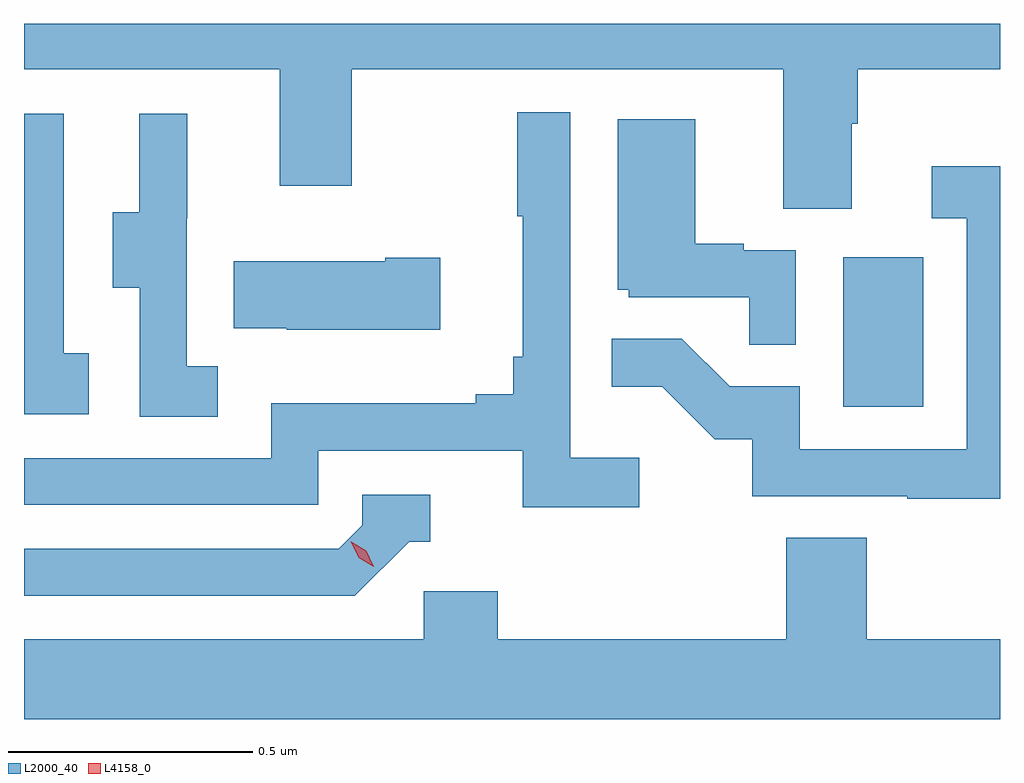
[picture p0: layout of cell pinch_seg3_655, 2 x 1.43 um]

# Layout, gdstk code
import gdstk
lib = gdstk.Library(unit=1e-6, precision=1e-09)
def R(c, l, rs):  # rectangles x0, y0, x1, y1
    for r in rs: c.add(gdstk.rectangle(r[:2], r[2:], *l))
def P(c, l, *ps):  # polygons
    for p in ps: c.add(gdstk.Polygon(p, *l))
L2000_40 = (2000, 40)
L4158_0 = (4158, 0)

pinch_seg3_655 = lib.new_cell('pinch_seg3_655')
R(pinch_seg3_655, L2000_40, [(1037.6,674.916,1037.764,675.223)])
P(pinch_seg3_655, L2000_40, [(1037.617,675.496),(1037.63,675.496),(1037.63,675.608),(1037.921,675.608),(1037.921,675.701),(1035.921,675.701),(1035.921,675.608),(1036.445,675.608),(1036.445,675.369),(1036.593,675.369),(1036.593,675.608),(1037.477,675.608),(1037.477,675.322),(1037.617,675.322)],
  [(1037.182,674.812),(1037.04,674.812),(1037.04,675.52),(1036.932,675.52),(1036.932,675.307),(1036.943,675.307),(1036.943,675.019),(1036.924,675.019),(1036.924,674.942),(1036.847,674.942),(1036.847,674.923),(1036.428,674.923),(1036.428,674.811),(1035.921,674.811),(1035.921,674.715),(1036.524,674.715),(1036.524,674.826),(1036.943,674.826),(1036.943,674.71),(1037.182,674.71)],
  [(1036.318,674.999),(1036.254,674.999),(1036.254,675.303),(1036.256,675.303),(1036.256,675.517),(1036.157,675.517),(1036.157,675.315),(1036.103,675.315),(1036.103,675.16),(1036.158,675.16),(1036.158,674.896),(1036.318,674.896)],
  [(1036.054,675.026),(1036.002,675.026),(1036.002,675.517),(1035.921,675.517),(1035.921,674.901),(1036.054,674.901)],
  [(1037.502,675.237),(1037.396,675.237),(1037.396,675.25),(1037.296,675.25),(1037.296,675.505),(1037.138,675.505),(1037.138,675.156),(1037.16,675.156),(1037.16,675.141),(1037.407,675.141),(1037.407,675.043),(1037.502,675.043)],
  [(1037.921,675.409),(1037.781,675.409),(1037.781,675.303),(1037.853,675.303),(1037.853,674.829),(1037.511,674.829),(1037.511,674.958),(1037.367,674.958),(1037.269,675.056),(1037.125,675.056),(1037.125,674.957),(1037.229,674.957),(1037.336,674.85),(1037.413,674.85),(1037.413,674.733),(1037.731,674.733),(1037.731,674.728),(1037.921,674.728)],
  [(1036.774,675.222),(1036.661,675.222),(1036.661,675.214),(1036.351,675.214),(1036.351,675.077),(1036.459,675.077),(1036.459,675.074),(1036.774,675.074)],
  [(1036.71,674.64),(1036.753,674.64),(1036.753,674.736),(1036.614,674.736),(1036.614,674.673),(1036.566,674.625),(1035.921,674.625),(1035.921,674.529),(1036.599,674.529)],
  [(1037.921,674.44),(1037.648,674.44),(1037.648,674.648),(1037.483,674.648),(1037.483,674.44),(1036.892,674.44),(1036.892,674.538),(1036.74,674.538),(1036.74,674.44),(1035.921,674.44),(1035.921,674.276),(1037.921,674.276)])
P(pinch_seg3_655, L4158_0, [(1036.638,674.588),(1036.607,674.607),(1036.591,674.64),(1036.591,674.64),(1036.592,674.64),(1036.622,674.621),(1036.638,674.588),(1036.638,674.588)])

lib.write_gds('pinch_seg3_655.gds')
